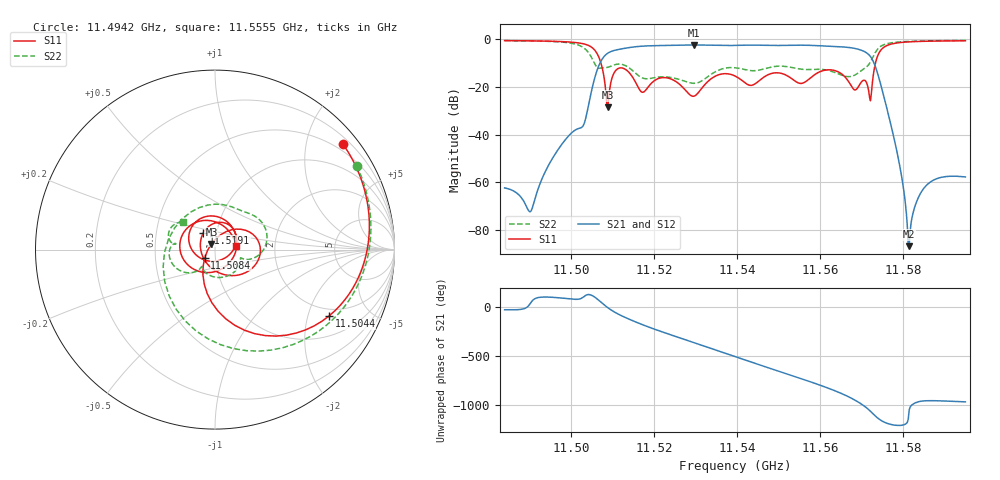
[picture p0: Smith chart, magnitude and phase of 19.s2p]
# Hz S DB R 50
! Planar, S50244, 24171007, 25.4.1/6
! Date: 30.10.2025 10:53:10
! Data: Format (Calibration Info)
! Freq	S11:dB/Ang(F2)	S21:dB/Ang(F2)	S12:dB/Ang(F2)	S22:dB/Ang(F2)
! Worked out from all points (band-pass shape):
!   501 points, 11.484 GHz to 11.595 GHz, reference 50 ohm
!   highest |S21| = -2.30 dB at 11.5295 GHz (marker M1); lowest = -86.9 dB at 11.5815 GHz (marker M2)
!   |S21| within 3 dB of the highest: 11.5093 GHz to 11.5709 GHz (61.6 MHz wide, 0.534 % of centre)
!   lowest |S11| = -28.5 dB at 11.5089 GHz (marker M3), VSWR 1.08, Z = 47.9 + j3.04 ohm
!   |S11| at or under -10 dB: 11.5072 GHz to 11.5733 GHz (66.12 MHz wide, 0.573 % of centre)
!   |S22| runs from -18.4 to -0.4 dB; largest |S21 - S12| = 0.016
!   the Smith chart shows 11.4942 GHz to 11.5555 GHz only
!   S11 on the Smith chart (normalised r, x): 11.4942 GHz: 0.34, +2.75; 11.5044 GHz: 1.70, -2.73; 11.5084 GHz: 0.89, -0.08; 11.5191 GHz: 0.86, +0.16; 11.5555 GHz: 1.27, +0.05
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1.1484e10  -0.48 64.0  -62.40 -26.7  -62.48 -25.5  -0.47 61.3
1.149022e10  -0.57 51.1  -72.39 39.5  -72.45 40.3  -0.59 45.5
1.149421e10  -0.69 39.5  -54.10 103.7  -54.10 104.7  -0.75 30.5
1.150265e10  -1.69 -8.2  -36.84 94.5  -36.78 93.8  -3.06 -46.2
1.150442e10  -2.68 -30.3  -25.81 129.0  -25.91 128.0  -6.04 -94.4
1.150842e10  -22.79 -141.6  -6.33 8.6  -6.35 9.1  -11.81 64.3
1.150886e10  -28.50 122.4  -5.74 -5.7  -5.75 -5.3  -11.68 57.1
1.151308e10  -12.53 -23.4  -3.66 -106.3  -3.63 -106.0  -10.97 4.8
1.151908e10  -18.92 125.2  -2.65 150.0  -2.61 149.7  -16.37 -20.3
1.152107e10  -16.39 85.1  -2.56 119.4  -2.52 118.9  -15.78 -36.9
1.152951e10  -23.87 -83.3  -2.30 -3.3  -2.36 -3.8  -18.42 -127.8
1.15395e10  -15.34 68.5  -2.49 -146.9  -2.64 -147.7  -11.88 -178.0
1.154771e10  -14.62 -165.2  -2.47 94.8  -2.55 94.5  -11.79 168.5
1.155548e10  -18.47 9.5  -2.39 -14.0  -2.54 -13.9  -12.49 139.0
1.155815e10  -15.47 -71.2  -2.50 -53.4  -2.61 -53.0  -12.59 130.9
1.156547e10  -14.87 168.3  -3.12 -172.8  -3.11 -172.4  -15.17 42.8
1.156925e10  -19.74 10.2  -4.13 103.9  -4.12 104.0  -13.99 -7.9
1.157213e10  -25.73 -22.9  -7.19 10.8  -7.11 11.0  -9.40 -21.7
1.157657e10  -2.20 -72.9  -32.41 -118.8  -32.32 -119.4  -1.58 -84.0
1.158146e10  -0.99 -117.9  -86.88 22.5  -86.78 17.0  -0.79 -122.3
1.15859e10  -0.72 -139.0  -60.85 119.4  -60.88 117.9  -0.57 -141.8
1.1595e10  -0.53 -164.1  -57.78 107.6  -57.89 106.3  -0.41 -165.4
